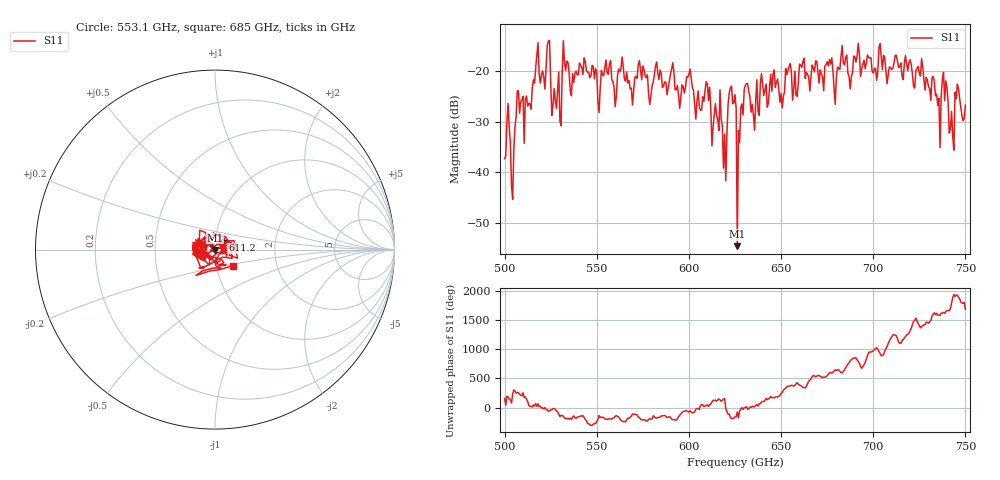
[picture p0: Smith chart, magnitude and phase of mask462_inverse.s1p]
!Created with skrf (http://scikit-rf.org).
# GHz S MA R 50.0
!freq magS11 angS11
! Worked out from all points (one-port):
!   401 points, 500 GHz to 750 GHz, reference 50 ohm
!   lowest |S11| = -54.7 dB at 626.2 GHz (marker M1), VSWR 1.00, Z = 50 - j0.179 ohm
!   |S11| at or under -10 dB: start of sweep to end of sweep
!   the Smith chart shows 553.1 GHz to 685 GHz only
!   S11 on the Smith chart (normalised r, x): 553.1 GHz: 0.83, -0.03; 611.2 GHz: 1.08, +0.12; 685 GHz: 1.21, -0.22
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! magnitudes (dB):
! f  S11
! 500 GHz  -37.4
! 501.9 GHz  -26.4
! 504.4 GHz  -45.4
! 507.5 GHz  -23.9
! 511.9 GHz  -25.0
! 516.9 GHz  -19.3
! 523.8 GHz  -14.1
! 526.9 GHz  -23.5
! 531.2 GHz  -20.2
! 553.1 GHz  -20.7
! 562.5 GHz  -20.1
! 593.8 GHz  -22.8
! 611.2 GHz  -23.2
! 619.4 GHz  -32.5
! 623.8 GHz  -26.5
! 625 GHz  -24.7
! 626.2 GHz  -54.7
! 631.2 GHz  -22.5
! 635 GHz  -28.7
! 656.2 GHz  -25.8
! 685 GHz  -17.4
! 687.5 GHz  -23.5
! 718.8 GHz  -19.9
! 735 GHz  -26.9
! 738.8 GHz  -25.9
! 742.5 GHz  -28.0
! 745.6 GHz  -22.6
! 750 GHz  -26.7
